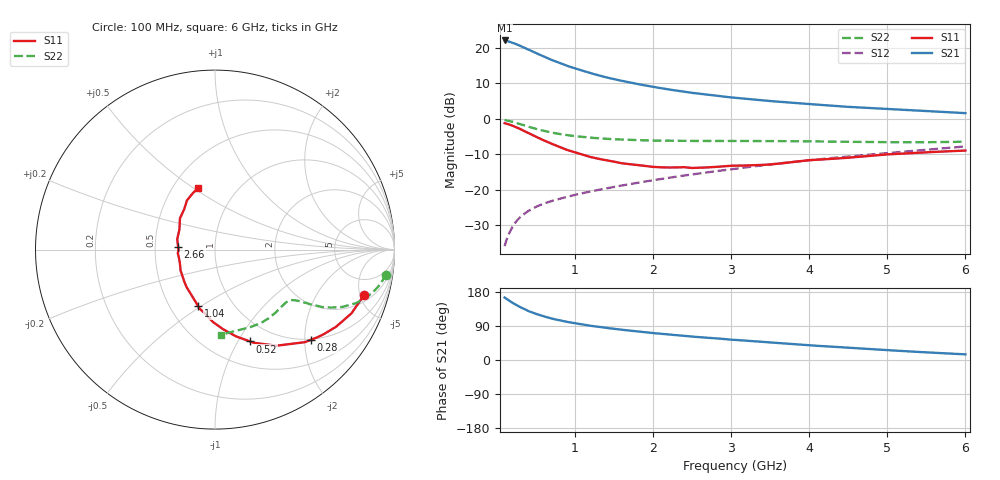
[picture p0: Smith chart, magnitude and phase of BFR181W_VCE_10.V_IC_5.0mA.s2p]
! Infineon Technologies  Discrete & RF Semiconductors
! BFR181W
! VCE =  10. V,  IC =  5.0 mA
! Common Emitter S-Parameters:  Nov 2015
# GHz  S  MA  R  50
!  f  S11  S21  S12  S22
! GHz  MAG  ANG  MAG  ANG  MAG  ANG  MAG  ANG
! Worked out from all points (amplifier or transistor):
!   192 points, 100 MHz to 6 GHz, reference 50 ohm
!   highest |S21| = 22.1 dB at 100 MHz (marker M1)
!   |S21| within 3 dB of that: start of sweep to 447.6 MHz
!   unconditionally stable (mu >= 1): 1.602 GHz to 3.306 GHz
!   at 440 MHz: K = 0.48, MSG = 22.3 dB, |S12| = -25.5 dB
!   at 1.7 GHz: K = 1.01, MAG = 13.7 dB, |S12| = -18.4 dB
!   at 6 GHz: K = 0.82, MSG = 4.7 dB, |S12| = -7.8 dB
!   S11 on the Smith chart (normalised r, x): 100 MHz: 2.67, -5.47; 280 MHz: 0.98, -2.15; 520 MHz: 0.77, -1.13; 1.04 GHz: 0.69, -0.49; 2.66 GHz: 0.66, +0.02; 6 GHz: 0.66, +0.53
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0.1  0.8682 -16.9  12.68 164.9  0.0161 79.9  0.964 -8.3
0.15  0.8394 -25.0  12.29 157.6  0.0235 76.1  0.939 -12.1
0.2  0.8 -32.5  11.8 151.1  0.03 73.0  0.909 -15.4
0.24  0.7668 -38.0  11.35 146.3  0.035 70.3  0.8814 -17.7
0.28  0.7343 -43.2  10.87 141.8  0.0393 68.1  0.8547 -19.7
0.3  0.7192 -45.8  10.64 139.5  0.0414 67.2  0.8417 -20.7
0.4  0.6351 -57.5  9.498 129.5  0.0501 63.5  0.7769 -24.3
0.52  0.5478 -69.1  8.256 120.5  0.0588 60.5  0.7124 -26.9
0.6  0.4979 -76.3  7.546 115.1  0.0639 59.6  0.6765 -28.2
0.7  0.4467 -84.1  6.762 109.4  0.0695 58.9  0.6406 -29.1
0.8  0.4036 -91.6  6.135 104.6  0.0745 58.8  0.6117 -29.9
0.9  0.3645 -98.2  5.57 100.5  0.0798 58.7  0.5889 -30.3
1.04  0.3284 -106.7  4.977 95.7  0.0868 59.2  0.565 -31.1
1.1  0.3129 -109.9  4.751 93.8  0.0898 59.4  0.5562 -31.3
1.2  0.2896 -116.0  4.387 90.3  0.0949 59.7  0.5417 -31.7
1.48  0.2518 -131.7  3.66 82.7  0.1088 60.7  0.5168 -33.0
2.08  0.2081 -161.4  2.724 69.7  0.1408 62.4  0.4928 -36.9
2.66  0.206 175.6  2.213 59.5  0.1743 62.9  0.4873 -42.0
3.1  0.2191 161.7  1.954 52.4  0.2011 62.7  0.4865 -46.8
4.1  0.2652 135.9  1.584 37.5  0.2677 60.0  0.4803 -59.7
5.1  0.3195 117.9  1.358 24.8  0.3362 56.1  0.4681 -73.8
6  0.3574 105.0  1.202 14.9  0.4084 52.0  0.4763 -86.3
